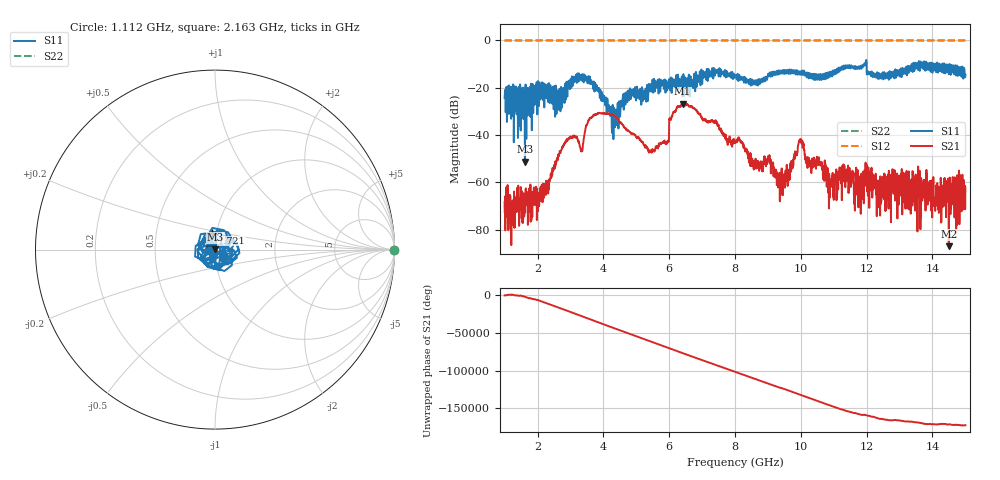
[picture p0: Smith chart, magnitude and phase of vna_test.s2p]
! Anritsu VNA Master:  Model: MS2038C/15
! SN:  1304022
! /card0/usr/tempdata.s2p
! Existing Calibration Information:
! TYPE:  Current Settings,  Active Cal Settings
! TIME:  06/24/2023 01:53:31 PM,  06/16/2023 11:33:35 AM
! INTERNAL TEMP:  42.3 C,  54.5 C
! # POINTS:  2000,  4001
! START FREQ:  1.000 GHz,  5.000 kHz
! STOP FREQ:  15.000 GHz,  20.000 GHz
! SOURCE POWER:  Low,  Low
! IFBW:  2 kHz,  2 kHz
! AVG FACTOR:  1 ,  1
! REF PLANE 1:  0 mm,  0 mm
! REF PLANE 2:  0 mm,  0 mm
! CAL TYPE:  Response S21 & S12,  Response S21 & S12
! CAL METHOD:  SOLT,  SOLT
! CAL LINE TYPE:  Coax,  Coax
! DUT PORT 1:  N-Conn(M),  N-Conn(M)
! DUT PORT 2:  N-Conn(M),  N-Conn(M)
! CAL STATUS:  OFF,  --
# GHZ S DB R 50.0
! FREQ.GHZ  S11DB  S11A  S21DB  S21A  S12DB  S12A  S22DB  S22A
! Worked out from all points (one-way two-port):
!   2000 points, 1 GHz to 15 GHz, reference 50 ohm
!   highest |S21| = -26.74 dB at 6.407 GHz (marker M1); lowest = -87.0 dB at 14.5 GHz (marker M2)
!   lowest |S11| = -51.4 dB at 1.616 GHz (marker M3), VSWR 1.01, Z = 50.2 + j0.166 ohm
!   |S11| at or under -10 dB: start of sweep to 11.92 GHz; 12 GHz to 13.37 GHz (1.37 GHz wide, 10.8 % of centre); 14.52 GHz to end of sweep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
!   |S22| runs from 0.0 to 0.0 dB; largest |S21 - S12| = 1
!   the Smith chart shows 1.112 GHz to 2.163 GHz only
!   S11 on the Smith chart (normalised r, x): 1.112 GHz: 0.98, -0.05; 1.721 GHz: 0.95, +0.18; 2.163 GHz: 1.09, -0.07
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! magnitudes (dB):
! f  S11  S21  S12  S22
! 1 GHz  -24.4  -68.3  0.0  0.0
! 1.112 GHz  -31.0  -80.3  0.0  0.0
! 1.616 GHz  -51.4  -64.9  0.0  0.0
! 1.721 GHz  -20.3  -63.9  0.0  0.0
! 2.163 GHz  -25.0  -60.7  0.0  0.0
! 2.898 GHz  -21.4  -41.7  0.0  0.0
! 3.339 GHz  -14.4  -46.9  0.0  0.0
! 3.64 GHz  -17.3  -32.7  0.0  0.0
! 4.313 GHz  -33.0  -31.4  0.0  0.0
! 4.747 GHz  -22.5  -38.1  0.0  0.0
! 5.671 GHz  -19.3  -44.5  0.0  0.0
! 6.407 GHz  -23.7  -26.7  0.0  0.0
! 8.004 GHz  -15.4  -42.6  0.0  0.0
! 9.054 GHz  -13.6  -50.1  0.0  0.0
! 9.432 GHz  -12.7  -60.6  0.0  0.0
! 9.978 GHz  -13.4  -42.7  0.0  0.0
! 10.34 GHz  -15.3  -53.9  0.0  0.0
! 10.85 GHz  -14.5  -71.1  0.0  0.0
! 11.25 GHz  -10.9  -54.7  0.0  0.0
! 12.67 GHz  -15.5  -71.1  0.0  0.0
! 14.5 GHz  -14.3  -87.0  0.0  0.0
! 15 GHz  -14.5  -62.2  0.0  0.0
